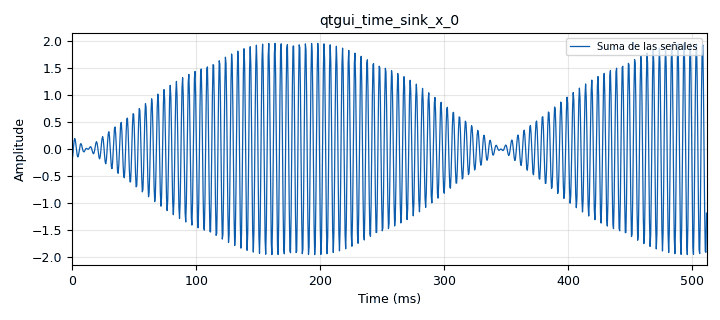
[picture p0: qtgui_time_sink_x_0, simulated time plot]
options:
  parameters:
    generate_options: qt_gui
    id: Actividad04
    output_language: python
    title: test04
  states: {}

blocks:
- name: samp_rate
  id: variable
  parameters:
    value: '2000'
  states: {}
- name: analog_sig_source_x_0
  id: analog_sig_source_x
  parameters:
    amp: '1'
    freq: '200'
    offset: '0'
    phase: '0'
    samp_rate: samp_rate
    type: float
    waveform: analog.GR_SIN_WAVE
  states: {}
- name: analog_sig_source_x_0_0
  id: analog_sig_source_x
  parameters:
    amp: '1'
    freq: '203'
    offset: '0'
    phase: '0'
    samp_rate: samp_rate
    type: float
    waveform: analog.GR_SIN_WAVE
  states: {}
- name: audio_sink_0
  id: audio_sink
  parameters:
    device_name: plughw:0,0
    samp_rate: samp_rate
  states: {}
- name: blocks_add_xx_0
  id: blocks_add_xx
  parameters:
    type: float
  states: {}
- name: blocks_throttle_0
  id: blocks_throttle
  parameters:
    samples_per_second: samp_rate
    type: float
  states: {}
- name: qtgui_time_sink_x_0
  id: qtgui_time_sink_x
  parameters:
    autoscale: 'True'
    grid: 'True'
    label1: Suma de las señales
    size: '1024'
    srate: samp_rate
    type: float
  states: {}

connections:
- [analog_sig_source_x_0, '0', blocks_add_xx_0, '0']
- [analog_sig_source_x_0_0, '0', blocks_add_xx_0, '1']
- [blocks_add_xx_0, '0', blocks_throttle_0, '0']
- [blocks_throttle_0, '0', audio_sink_0, '0']
- [blocks_throttle_0, '0', qtgui_time_sink_x_0, '0']

metadata:
  file_format: 1
